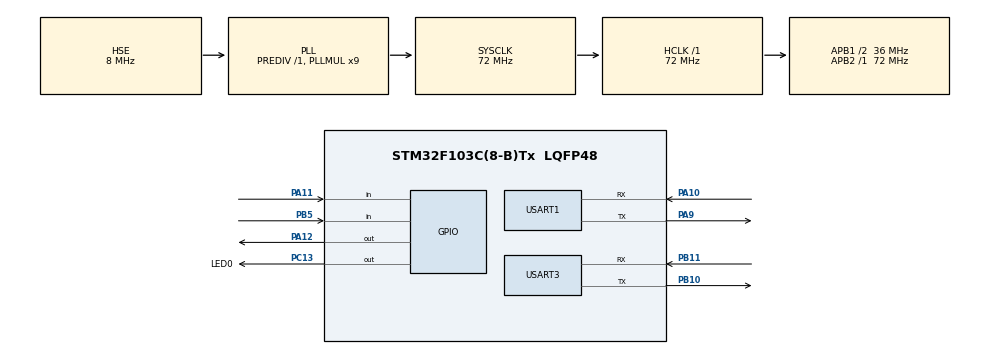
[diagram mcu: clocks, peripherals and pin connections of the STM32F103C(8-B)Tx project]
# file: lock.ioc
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Mcu.Family=STM32F1
Mcu.Name=STM32F103C(8-B)Tx
Mcu.Package=LQFP48
NVIC.PriorityGroup=NVIC_PRIORITYGROUP_2
NVIC.TIM3_IRQn=true\:1\:3\:true\:false\:true\:true\:true\:true
NVIC.USART1_IRQn=true\:2\:2\:true\:false\:true\:true\:true\:true
NVIC.USART3_IRQn=true\:2\:0\:true\:false\:true\:true\:true\:true
PA10.Mode=Asynchronous
PA10.Signal=USART1_RX
PA11.Signal=GPIO_Input
PA12.GPIO_PuPd=GPIO_PULLUP
PA12.GPIO_Speed=GPIO_SPEED_FREQ_MEDIUM
PA12.Signal=GPIO_Output
PA13.Mode=Serial_Wire
PA13.Signal=SYS_JTMS-SWDIO
PA14.Mode=Serial_Wire
PA14.Signal=SYS_JTCK-SWCLK
PA9.Mode=Asynchronous
PA9.Signal=USART1_TX
PB10.Mode=Asynchronous
PB10.Signal=USART3_TX
PB11.Mode=Asynchronous
PB11.Signal=USART3_RX
PB5.GPIO_PuPd=GPIO_PULLUP
PB5.Signal=GPIO_Input
PC13-TAMPER-RTC.GPIO_Label=LED0
PC13-TAMPER-RTC.GPIO_PuPd=GPIO_PULLUP
PC13-TAMPER-RTC.GPIO_Speed=GPIO_SPEED_FREQ_MEDIUM
PC13-TAMPER-RTC.PinState=GPIO_PIN_SET
PC13-TAMPER-RTC.Signal=GPIO_Output
PC14-OSC32_IN.Mode=LSE-External-Oscillator
PC14-OSC32_IN.Signal=RCC_OSC32_IN
PC15-OSC32_OUT.Mode=LSE-External-Oscillator
PC15-OSC32_OUT.Signal=RCC_OSC32_OUT
PD0-OSC_IN.Mode=HSE-External-Oscillator
PD0-OSC_IN.Signal=RCC_OSC_IN
PD1-OSC_OUT.Mode=HSE-External-Oscillator
PD1-OSC_OUT.Signal=RCC_OSC_OUT
ProjectManager.HeapSize=0x200
ProjectManager.StackSize=0x400
ProjectManager.TargetToolchain=MDK-ARM V5.32
RCC.AHBFreq_Value=72000000
RCC.APB1CLKDivider=RCC_HCLK_DIV2
RCC.APB1Freq_Value=36000000
RCC.APB1TimFreq_Value=72000000
RCC.APB2Freq_Value=72000000
RCC.APB2TimFreq_Value=72000000
RCC.HCLKFreq_Value=72000000
RCC.PLLMUL=RCC_PLL_MUL9
RCC.PLLSourceVirtual=RCC_PLLSOURCE_HSE
RCC.SYSCLKFreq_VALUE=72000000
RCC.SYSCLKSource=RCC_SYSCLKSOURCE_PLLCLK
RCC.USBFreq_Value=72000000
TIM3.Period=10000-1
TIM3.Prescaler=72-1
USART1.VirtualMode=VM_ASYNC
USART3.VirtualMode=VM_ASYNC
VP_TIM3_VS_ClockSourceINT.Mode=Internal
board=custom

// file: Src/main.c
/* USER CODE BEGIN 0 */

#include "main.h"

#include "tim.h"
#include "usart.h"
#include "gpio.h"

#include "task.h"
#include "oled.h"
#include "atk-mw8266.h"
#include "atk_idm750.h"
#include "pwr.h"
#include <string.h>

uint16_t time_us = 0;    //微秒
uint16_t time_ms = 0;    //毫秒

uint8_t open_flag = 0;  //开锁标志
uint8_t close_flag = 0; //关锁标志

uint8_t car_flag = 0;   //停车标志

uint8_t mode = 0;
uint16_t detection = 0;
uint8_t detection_flag = 0;

void SystemClock_Config(void);

/* USER CODE END 0 */

int main(void)
{
    HAL_Init();

    SystemClock_Config();

    MX_GPIO_Init();

    MX_TIM3_Init();
    HAL_TIM_Base_Start_IT(&htim3);

    MX_USART1_UART_Init();
    HAL_UART_Receive_IT(&huart1, (uint8_t *)UART1_temp, REC_LENGTH);
    printf("USART1 Init");

    MX_USART3_UART_Init();
    HAL_UART_Receive_IT(&huart3, &UART3_data, 1);
    HAL_UART_Transmit(&huart3, "USART3 Init", 11, HAL_MAX_DELAY);

    // MX_I2C1_Init();
    OLED_Init();
    OLED_ShowString_fun("OLED_OK!");

    // Pwr_Init();

    mode = READ_KEY;

//    if(mode == 0)
//    {
//        OLED_ShowString_fun("4G_Mode");
//        IMD750_TASK();
//    }
//
//    else if(mode == 1)
//    {
//        OLED_ShowString_fun("Wifi_Mode");
//        ESP8266_TASK();
//    }

	while(1)
	{
		if(UART3_Rx_flg == 1)
		{
			usart3_printf("abcdefg\r\n");
			UART3_Rx_flg = 0;
		}
	}

}

void SystemClock_Config(void)
{
  RCC_OscInitTypeDef RCC_OscInitStruct = {0};
  RCC_ClkInitTypeDef RCC_ClkInitStruct = {0};

  /** Initializes the RCC Oscillators according to the specified parameters
  * in the RCC_OscInitTypeDef structure.
  */
  RCC_OscInitStruct.OscillatorType = RCC_OSCILLATORTYPE_HSE;
  RCC_OscInitStruct.HSEState = RCC_HSE_ON;
  RCC_OscInitStruct.HSEPredivValue = RCC_HSE_PREDIV_DIV1;
  RCC_OscInitStruct.HSIState = RCC_HSI_ON;
  RCC_OscInitStruct.PLL.PLLState = RCC_PLL_ON;
  RCC_OscInitStruct.PLL.PLLSource = RCC_PLLSOURCE_HSE;
  RCC_OscInitStruct.PLL.PLLMUL = RCC_PLL_MUL9;
  if (HAL_RCC_OscConfig(&RCC_OscInitStruct) != HAL_OK)
  {
    Error_Handler();
  }

  /** Initializes the CPU, AHB and APB buses clocks
  */
  RCC_ClkInitStruct.ClockType = RCC_CLOCKTYPE_HCLK|RCC_CLOCKTYPE_SYSCLK
                              |RCC_CLOCKTYPE_PCLK1|RCC_CLOCKTYPE_PCLK2;
  RCC_ClkInitStruct.SYSCLKSource = RCC_SYSCLKSOURCE_PLLCLK;
  RCC_ClkInitStruct.AHBCLKDivider = RCC_SYSCLK_DIV1;
  RCC_ClkInitStruct.APB1CLKDivider = RCC_HCLK_DIV2;
  RCC_ClkInitStruct.APB2CLKDivider = RCC_HCLK_DIV1;

  if (HAL_RCC_ClockConfig(&RCC_ClkInitStruct, FLASH_LATENCY_2) != HAL_OK)
  {
    Error_Handler();
  }
}

/**
  * @brief 串口中断回调函数
  * @param 调用回调函数的串口
  * @note  串口每次收到数据以后都会关闭中断，如需重复使用，必须再次开启
  * @retval None
  */
void HAL_UART_RxCpltCallback(UART_HandleTypeDef *huart)
{
    /* 判断是哪个串口触发的中断 */
    if(huart->Instance == USART1)
    {
        if ((UART1_Rx_cnt & 0x8000) == 0)       /* 接收未完成 */
        {
            if (UART1_Rx_cnt & 0x4000)      /* 接收到了0x0d（即回车键） */
            {
                if (UART1_temp[0] != 0x0a)      /* 接收到的不是0x0a（即不是换行键） */
                {
                    UART1_Rx_cnt = 0;       /* 接收错误,重新开始 */
                }
                else        /* 接收到的是0x0a（即换行键） */
                {
                    UART1_Rx_cnt |= 0x8000;     /* 接收完成了 */
                }
            }
            else        /* 还没收到0X0d（即回车键） */
            {
                if (UART1_temp[0] == 0x0d)
                    UART1_Rx_cnt |= 0x4000;
                else
                {
                    UART1_Rx_Buf[UART1_Rx_cnt & 0X3FFF] = UART1_temp[0];
                    UART1_Rx_cnt++;

                    if (UART1_Rx_cnt > (MAX_REC_LENGTH - 1))
                    {
                        UART1_Rx_cnt = 0;       /* 接收数据错误,重新开始接收 */
                    }
                }
            }
        }

        //等待下一次接收中断
        HAL_UART_Receive_IT(&huart1, (uint8_t *)UART1_temp, REC_LENGTH);
    }

    if(huart->Instance == USART3)
    {
        if(UART3_Rx_cnt < UART3_Rx_COUNT-1) /* 判断UART接收缓冲是否溢出,留出一位给结束符'\0' */
        {
            UART3_Rx_Buf[UART3_Rx_cnt] = UART3_data;    /* 将接收到的数据写入缓冲 */
            UART3_Rx_cnt++;     /* 更新接收到的数据长度 */
        }
        else
        {
            UART3_Rx_cnt = 0;
            UART3_Rx_Buf[UART3_Rx_cnt] = UART3_data;
            UART3_Rx_cnt++;
        }

        // 启动下一次接收
        HAL_UART_Receive_IT(&huart3, &UART3_data, 1);
    }
}

/* USER CODE END 4 */

void Error_Handler(void)
{
  __disable_irq();
  while (1)
  {
  }
}
